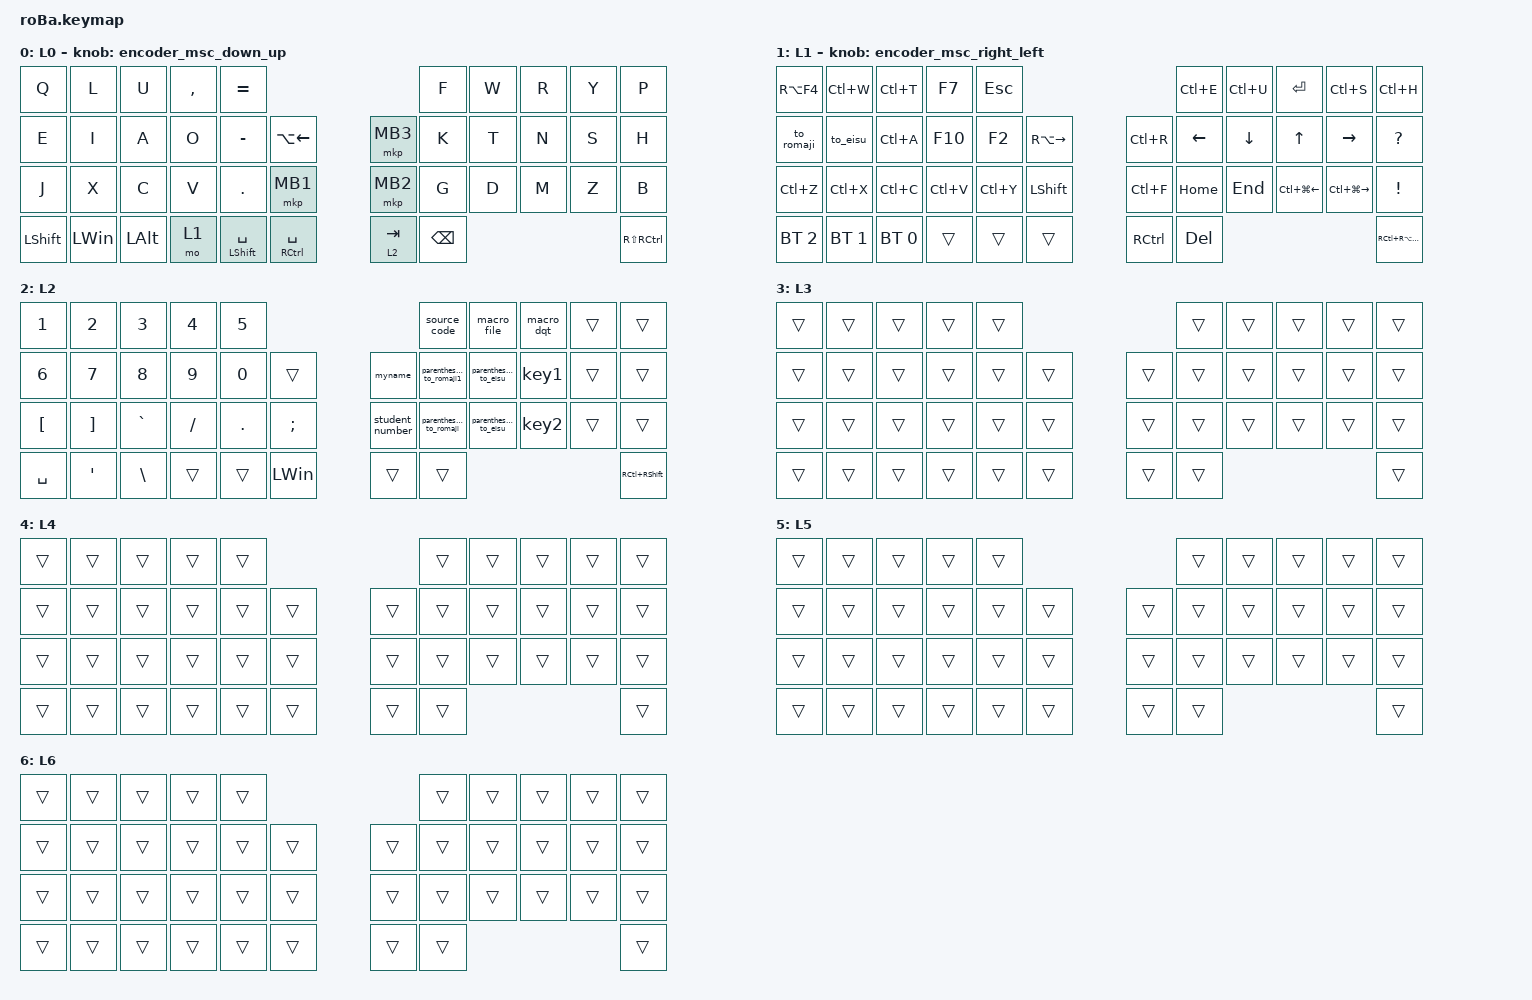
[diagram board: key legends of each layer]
#include <behaviors.dtsi>
#include <dt-bindings/zmk/bt.h>
#include <dt-bindings/zmk/keys.h>
#include <dt-bindings/zmk/pointing.h>

#define ZMK_POINTING_DEFAULT_SCRL_VAL 80

/ {
    combos { compatible = "zmk,combos"; };

    macros {
        to_romaji: to_romaji {
            compatible = "zmk,behavior-macro";
            label = "TO_ROMAJI";
            #binding-cells = <0>;
            bindings = <&kp LANG1>; // IME ON + ローマ字入力に切替
        };

        to_eisu: to_eisu {
            compatible = "zmk,behavior-macro";
            label = "TO_EISU";
            #binding-cells = <0>;
            bindings = <&kp LANG2>; // IME OFF（英数入力）に切替
        };

        parentheses1_to_eisu: parentheses {
            compatible = "zmk,behavior-macro";
            #binding-cells = <0>;
            bindings = <&to_eisu &kp LEFT_BRACKET &kp RIGHT_BRACKET &kp LEFT>;
            label = "PARENTHESES";
        };

        macro_dqt: macro_dqt {
            compatible = "zmk,behavior-macro";
            #binding-cells = <0>;
            bindings = <&to_eisu &kp DOUBLE_QUOTES &kp DOUBLE_QUOTES &kp LEFT>;
            label = "MACRO_DQT";
        };

        parentheses2_to_eisu: macro_parentheses2 {
            compatible = "zmk,behavior-macro";
            #binding-cells = <0>;
            bindings = <&to_eisu &kp LEFT_PARENTHESIS &kp RIGHT_PARENTHESIS &kp LEFT>;
            label = "MACRO_PARENTHESES2";
        };

        parentheses2_to_romaji1: macro_parentheses1_to_romaji1 {
            compatible = "zmk,behavior-macro";
            #binding-cells = <0>;
            bindings = <&to_eisu &kp LEFT_PARENTHESIS &kp RIGHT_PARENTHESIS &kp LEFT &to_romaji>;
            label = "MACRO_PARENTHESES1_TO_ROMAJI1";
        };

        parentheses1_to_romaji: macro_parentheses1_to_romaji {
            compatible = "zmk,behavior-macro";
            #binding-cells = <0>;
            bindings = <&to_eisu &kp LEFT_BRACKET &kp RIGHT_BRACKET &kp LEFT &to_romaji>;
            label = "MACRO_PARENTHESES1_TO_ROMAJI";
        };

        student_number: student_number {
            compatible = "zmk,behavior-macro";
            #binding-cells = <0>;
            bindings = <&kp B &kp N1 &kp N8 &kp N1 &kp N9 &kp N5 &kp N2>;
            label = "STUDENT_NUMBER";
        };

        source_code: macro_source_code {
            compatible = "zmk,behavior-macro";
            #binding-cells = <0>;
            bindings = <&to_eisu &kp GRAVE &kp GRAVE &kp GRAVE &kp ENTER &kp ENTER &kp GRAVE &kp GRAVE &kp GRAVE &kp UP &kp LEFT>;
            label = "MACRO_SOURCE_CODE";
        };

        macro_file: macro_file {
            compatible = "zmk,behavior-macro";
            #binding-cells = <0>;
            bindings = <&to_eisu &kp GRAVE &kp GRAVE &kp LEFT>;
            label = "MACRO_FILE";
        };

        myname: name {
            compatible = "zmk,behavior-macro";
            #binding-cells = <0>;
            bindings = <&kp K &kp O &kp M &kp A &kp T &kp S &kp U &kp B &kp A &kp R &kp A>;
            label = "NAME";
        };

        key1: key1 {
            compatible = "zmk,behavior-macro";
            #binding-cells = <0>;
            bindings = <&kp K &kp M &kp T &kp B &kp R &kp R &kp E &kp N0>;
            label = "KEY1";
        };

        key2: key2 {
            compatible = "zmk,behavior-macro";
            #binding-cells = <0>;
            bindings = <&kp K &kp N0 &kp M &kp T &kp B &kp R &kp E &kp N0>;
            label = "KEY2";
        };
    };

    behaviors {
        encoder_msc_down_up: encoder_msc_down_up {
            compatible = "zmk,behavior-sensor-rotate";
            label = "ENCODER_MSC_DOWN_UP";
            #sensor-binding-cells = <0>;
            bindings = <&msc SCRL_DOWN>, <&msc SCRL_UP>;

            tap-ms = <20>;
        };

        encoder_msc_right_left: encoder_msc_right_left {
            compatible = "zmk,behavior-sensor-rotate";
            label = "ENCODER_MSC_RIGHT_LEFT";
            #sensor-binding-cells = <0>;
            bindings = <&msc SCRL_RIGHT>, <&msc SCRL_LEFT>;

            tap-ms = <20>;
        };
    };

    keymap {
        compatible = "zmk,keymap";

        L0 {
            bindings = <
&kp Q           &kp L         &kp U         &kp COMMA  &kp EQUAL                                                     &kp F          &kp W  &kp R  &kp Y  &kp P
&kp E           &kp I         &kp A         &kp O      &kp MINUS             &kp LA(LEFT)                 &mkp MB3   &kp K          &kp T  &kp N  &kp S  &kp H
&kp J           &kp X         &kp C         &kp V      &kp PERIOD            &mkp MB1                     &mkp MB2   &kp G          &kp D  &kp M  &kp Z  &kp B
&kp LEFT_SHIFT  &kp LEFT_WIN  &kp LEFT_ALT  &mo 1      &mt LEFT_SHIFT SPACE  &mt RIGHT_CONTROL SPACE      &lt 2 TAB  &kp BACKSPACE                       &kp RS(RIGHT_CONTROL)
            >;

            sensor-bindings = <&encoder_msc_down_up>;
        };

        L1 {
            bindings = <
&kp RA(F4)    &kp LC(W)     &kp LC(T)     &kp F7     &kp ESCAPE                                         &kp LC(E)   &kp LC(U)  &kp RET           &kp LC(S)          &kp LC(H)
&to_romaji    &to_eisu      &kp LC(A)     &kp F10    &kp F2      &kp RA(RIGHT)       &kp LC(R)          &kp LEFT    &kp DOWN   &kp UP            &kp RIGHT          &kp QUESTION
&kp LC(Z)     &kp LC(X)     &kp LC(C)     &kp LC(V)  &kp LC(Y)   &kp LEFT_SHIFT      &kp LC(F)          &kp HOME    &kp END    &kp LC(LG(LEFT))  &kp LC(LG(RIGHT))  &kp EXCLAMATION
&bt BT_SEL 2  &bt BT_SEL 1  &bt BT_SEL 0  &trans     &trans      &trans              &kp RIGHT_CONTROL  &kp DELETE                                                  &kp RC(RA(DELETE))
            >;

            sensor-bindings = <&encoder_msc_right_left>;
        };

        L2 {
            bindings = <
&kp N1            &kp N2             &kp N3         &kp N4     &kp N5                                          &source_code              &macro_file            &macro_dqt  &trans  &trans
&kp N6            &kp N7             &kp N8         &kp N9     &kp N0      &trans             &myname          &parentheses2_to_romaji1  &parentheses2_to_eisu  &key1       &trans  &trans
&kp LEFT_BRACKET  &kp RIGHT_BRACKET  &kp GRAVE      &kp SLASH  &kp PERIOD  &kp SEMICOLON      &student_number  &parentheses1_to_romaji   &parentheses1_to_eisu  &key2       &trans  &trans
&kp SPACE         &kp SQT            &kp BACKSLASH  &trans     &trans      &kp LEFT_WIN       &trans           &trans                                                               &kp RC(RSHIFT)
            >;
        };

        L3 {
            bindings = <
&trans  &trans  &trans  &trans  &trans                      &trans  &trans  &trans  &trans  &trans
&trans  &trans  &trans  &trans  &trans  &trans      &trans  &trans  &trans  &trans  &trans  &trans
&trans  &trans  &trans  &trans  &trans  &trans      &trans  &trans  &trans  &trans  &trans  &trans
&trans  &trans  &trans  &trans  &trans  &trans      &trans  &trans                          &trans
            >;
        };

        L4 {
            bindings = <
&trans  &trans  &trans  &trans  &trans                      &trans  &trans  &trans  &trans  &trans
&trans  &trans  &trans  &trans  &trans  &trans      &trans  &trans  &trans  &trans  &trans  &trans
&trans  &trans  &trans  &trans  &trans  &trans      &trans  &trans  &trans  &trans  &trans  &trans
&trans  &trans  &trans  &trans  &trans  &trans      &trans  &trans                          &trans
            >;
        };

        L5 {
            bindings = <
&trans  &trans  &trans  &trans  &trans                      &trans  &trans  &trans  &trans  &trans
&trans  &trans  &trans  &trans  &trans  &trans      &trans  &trans  &trans  &trans  &trans  &trans
&trans  &trans  &trans  &trans  &trans  &trans      &trans  &trans  &trans  &trans  &trans  &trans
&trans  &trans  &trans  &trans  &trans  &trans      &trans  &trans                          &trans
            >;
        };

        L6 {
            bindings = <
&trans  &trans  &trans  &trans  &trans                      &trans  &trans  &trans  &trans  &trans
&trans  &trans  &trans  &trans  &trans  &trans      &trans  &trans  &trans  &trans  &trans  &trans
&trans  &trans  &trans  &trans  &trans  &trans      &trans  &trans  &trans  &trans  &trans  &trans
&trans  &trans  &trans  &trans  &trans  &trans      &trans  &trans                          &trans
            >;
        };
    };
};
